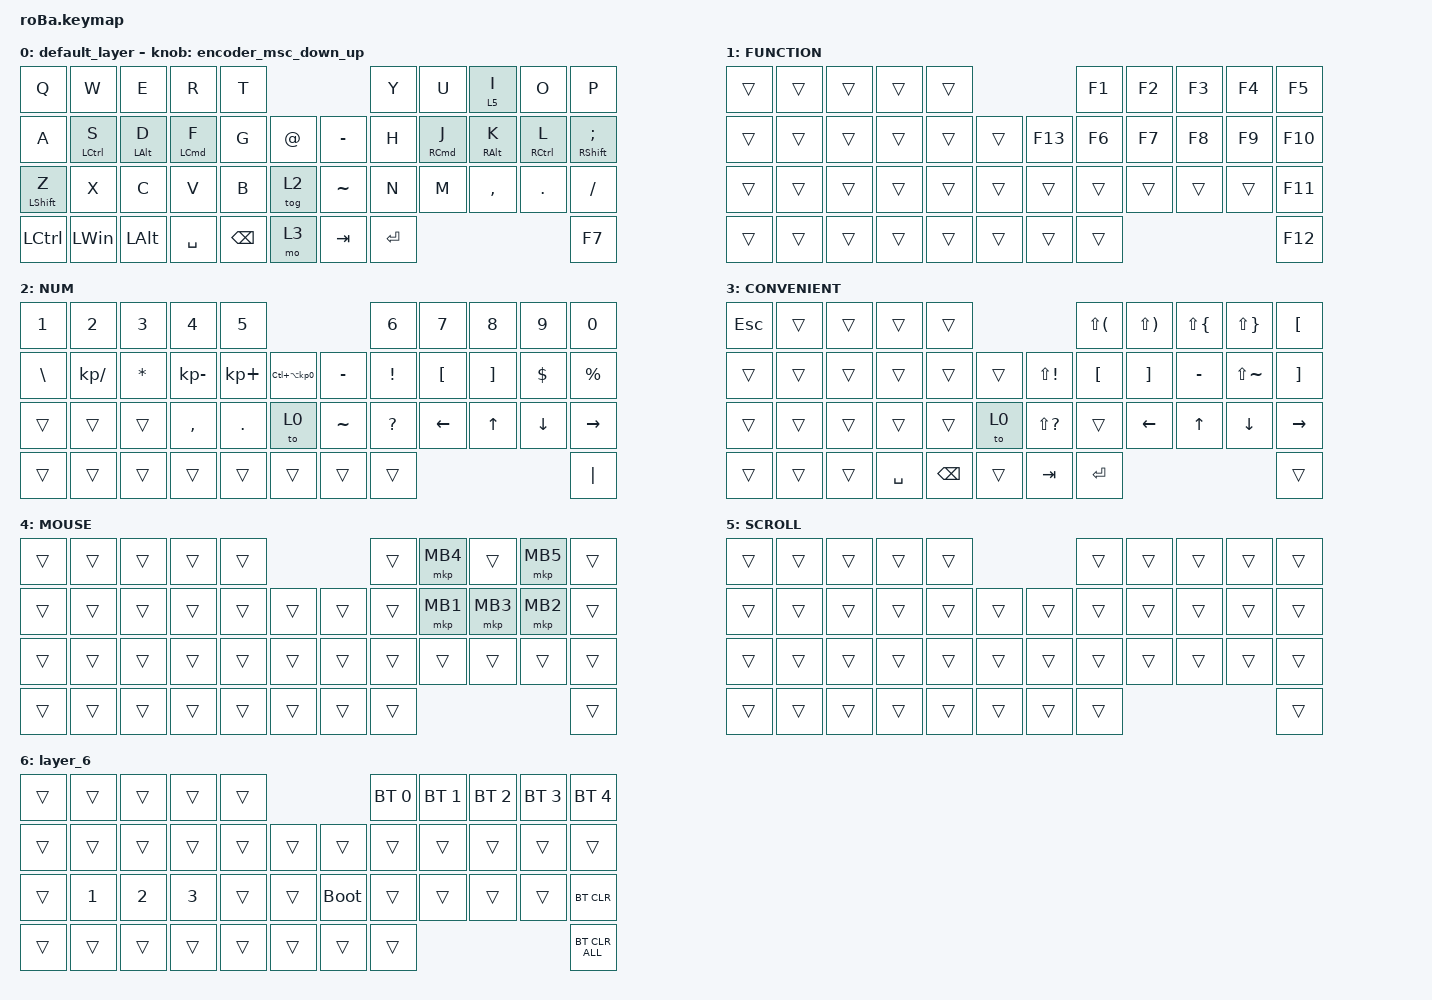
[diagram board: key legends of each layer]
#include <behaviors.dtsi>
#include <dt-bindings/zmk/bt.h>
#include <dt-bindings/zmk/keys.h>
#include <dt-bindings/zmk/pointing.h>

#define ZMK_POINTING_DEFAULT_SCRL_VAL 80

&mt {
    flavor = "balanced";
    quick-tap-ms = <0>;
};

&trackball {
    automouse-layer = <4>;
    scroll-layers = <5>;
};

/ {
    combos {
        compatible = "zmk,combos";

        tab {
            bindings = <&kp TAB>;
            key-positions = <11 12>;
        };

        double_quotation {
            bindings = <&kp APOS>;
            key-positions = <20 21>;
        };

        eq {
            bindings = <&kp EQUAL>;
            key-positions = <24 25>;
        };

        kagi_down_combo {
            bindings = <&kakko_macro>;
            key-positions = <21 18>;
        };

        henkan {
            bindings = <&ime_toggle>;
            key-positions = <22 23>;
        };

        Escape {
            bindings = <&kp ESCAPE>;
            key-positions = <0 1>;
        };

        Delete {
            bindings = <&kp DELETE>;
            key-positions = <8 9>;
        };
    };

    macros {
        to_layer_0: to_layer_0 {
            compatible = "zmk,behavior-macro-one-param";
            #binding-cells = <1>;
            bindings =
                <&to 0 &macro_param_1to1 &kp MACRO_PLACEHOLDER>,
                <&macro_press>;
        };

        kakko_macro: kakko_macro {
            compatible = "zmk,behavior-macro";
            #binding-cells = <0>;
            wait-ms = <40>;
            tap-ms = <40>;
            bindings = <&kp LEFT_BRACKET &kp RIGHT_BRACKET>;
        };

        ime_toggle: ime_toggle {
            compatible = "zmk,behavior-macro";
            #binding-cells = <0>;
            wait-ms = <30>;
            tap-ms = <30>;
            bindings =
                <&macro_press>,
                <&kp LALT>,
                <&macro_tap>,
                <&kp GRAVE>,
                <&macro_release>,
                <&kp LALT>;
        };

        macro_lang_sw: macro_lang_sw {
            compatible = "zmk,behavior-macro";
            label = "MACRO_LANG_SW";
            #binding-cells = <0>;
            wait-ms = <30>;
            tap-ms = <30>;
            bindings = <&kp LCTRL &kp SPACE &kp LCTRL>; // Controlキーを離す
        };
    };

    behaviors {
        zen_han_toggle: zen_han_toggle {
            compatible = "zmk,behavior-tap-dance";
            #binding-cells = <0>;
            tapping-term-ms = <200>;
            bindings = <&ime_toggle>, <&ime_toggle>;
        };

        encoder_msc_down_up: encoder_msc_down_up {
            compatible = "zmk,behavior-sensor-rotate";
            label = "ENCODER_MSC_DOWN_UP";
            #sensor-binding-cells = <0>;
            bindings = <&msc SCRL_UP>, <&msc SCRL_DOWN>;

            tap-ms = <20>;
        };
    };

    keymap {
        compatible = "zmk,keymap";

        default_layer {
            bindings = <
&kp Q             &kp W         &kp E           &kp R               &kp T                                      &kp Y      &kp U                &lt 5 I          &kp O        &kp P
&kp A             &mt LCTRL S   &mt LEFT_ALT D  &mt LEFT_COMMAND F  &kp G          &kp AT_SIGN      &kp MINUS  &kp H      &mt RIGHT_COMMAND J  &mt RIGHT_ALT K  &mt RCTRL L  &mt RIGHT_SHIFT SEMI
&mt LEFT_SHIFT Z  &kp X         &kp C           &kp V               &kp B          &tog 2           &kp TILDE  &kp N      &kp M                &kp COMMA        &kp DOT      &kp SLASH
&kp LCTRL         &kp LEFT_WIN  &kp LEFT_ALT    &kp SPACE           &kp BACKSPACE  &mo 3            &kp TAB    &kp ENTER                                                     &kp F7
            >;

            sensor-bindings = <&encoder_msc_down_up>;
        };

        FUNCTION {
            bindings = <
&trans  &trans  &trans  &trans  &trans                       &kp F1  &kp F2  &kp F3  &kp F4  &kp F5
&trans  &trans  &trans  &trans  &trans  &trans      &kp F13  &kp F6  &kp F7  &kp F8  &kp F9  &kp F10
&trans  &trans  &trans  &trans  &trans  &trans      &trans   &trans  &trans  &trans  &trans  &kp F11
&trans  &trans  &trans  &trans  &trans  &trans      &trans   &trans                          &kp F12
            >;
        };

        NUM {
            bindings = <
&kp NUMBER_1   &kp NUMBER_2   &kp NUMBER_3  &kp NUMBER_4  &kp N5                                               &kp NUMBER_6     &kp N7            &kp N8             &kp N9          &kp N0
&kp BACKSLASH  &kp KP_DIVIDE  &kp ASTERISK  &kp KP_MINUS  &kp KP_PLUS  &kp LC(LA(KP_NUMBER_0))      &kp MINUS  &kp EXCLAMATION  &kp LEFT_BRACKET  &kp RIGHT_BRACKET  &kp DOLLAR      &kp PERCENT
&trans         &trans         &trans        &kp COMMA     &kp PERIOD   &to 0                        &kp TILDE  &kp QUESTION     &kp LEFT_ARROW    &kp UP_ARROW       &kp DOWN_ARROW  &kp RIGHT_ARROW
&trans         &trans         &trans        &trans        &trans       &trans                       &trans     &trans                                                                &kp PIPE
            >;
        };

        CONVENIENT {
            bindings = <
&kp ESCAPE  &trans  &trans  &trans     &trans                                    &kp LS(LPAR)      &kp LS(RPAR)       &kp LS(LBRC)  &kp LS(RBRC)    &kp LBKT
&trans      &trans  &trans  &trans     &trans         &trans      &kp LS(EXCL)   &kp LEFT_BRACKET  &kp RIGHT_BRACKET  &kp MINUS     &kp LS(TILDE)   &kp RBKT
&trans      &trans  &trans  &trans     &trans         &to 0       &kp LS(QMARK)  &trans            &kp LEFT_ARROW     &kp UP_ARROW  &kp DOWN_ARROW  &kp RIGHT_ARROW
&trans      &trans  &trans  &kp SPACE  &kp BACKSPACE  &trans      &kp TAB        &kp ENTER                                                          &trans
            >;
        };

        MOUSE {
            bindings = <
&trans  &trans  &trans  &trans  &trans                      &trans  &mkp MB4  &trans    &mkp MB5  &trans
&trans  &trans  &trans  &trans  &trans  &trans      &trans  &trans  &mkp MB1  &mkp MB3  &mkp MB2  &trans
&trans  &trans  &trans  &trans  &trans  &trans      &trans  &trans  &trans    &trans    &trans    &trans
&trans  &trans  &trans  &trans  &trans  &trans      &trans  &trans                                &trans
            >;
        };

        SCROLL {
            bindings = <
&trans  &trans  &trans  &trans  &trans                      &trans  &trans  &trans  &trans  &trans
&trans  &trans  &trans  &trans  &trans  &trans      &trans  &trans  &trans  &trans  &trans  &trans
&trans  &trans  &trans  &trans  &trans  &trans      &trans  &trans  &trans  &trans  &trans  &trans
&trans  &trans  &trans  &trans  &trans  &trans      &trans  &trans                          &trans
            >;
        };

        layer_6 {
            bindings = <
&trans  &trans        &trans        &trans        &trans                           &bt BT_SEL 0  &bt BT_SEL 1  &bt BT_SEL 2  &bt BT_SEL 3  &bt BT_SEL 4
&trans  &trans        &trans        &trans        &trans  &trans      &trans       &trans        &trans        &trans        &trans        &trans
&trans  &kp NUMBER_1  &kp NUMBER_2  &kp NUMBER_3  &trans  &trans      &bootloader  &trans        &trans        &trans        &trans        &bt BT_CLR
&trans  &trans        &trans        &trans        &trans  &trans      &trans       &trans                                                  &bt BT_CLR_ALL
            >;
        };
    };
};
